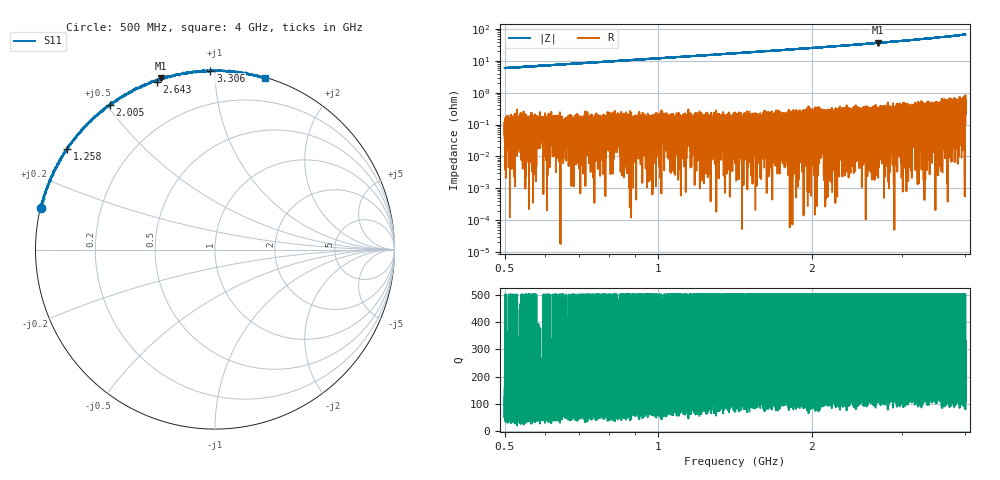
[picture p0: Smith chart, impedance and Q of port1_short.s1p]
!Agilent Technologies,E8363C,MY49030273,A.09.42.18
!Agilent E8363C: A.09.42.18
!Date: Tuesday, May 03, 2022 03:55:51
!Correction: S11(Full 2 Port(1,2))
!S1P File: Measurement: S11:
# Hz S  dB  R 50
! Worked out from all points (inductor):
!   32001 points, 500 MHz to 4 GHz, reference 50 ohm
!   read as one part to ground: L = 1.9 nH near 517.5 MHz
!   highest Q = 1.01e+03 at 2.696 GHz (marker M1), where L = 2.17 nH
!   S11 on the Smith chart (normalised r, x): 500 MHz: 0.00, +0.12; 1.258 GHz: 0.00, +0.31; 2.005 GHz: 0.00, +0.51; 2.643 GHz: 0.01, +0.71; 3.306 GHz: 0.00, +0.97; 4 GHz: 0.00, +1.34
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5e8  -0.01 166.4
7.157969e8  -0.02 160.6
9.375e8  -0.01 154.9
1.090953e9  -0.02 150.7
1.257969e9  -0.02 145.8
1.375e9  -0.03 142.8
1.637719e9  -0.07 136.1
1.8125e9  -0.02 131.0
2.005109e9  -0.05 126.1
2.25e9  -0.04 119.5
2.452125e9  -0.03 114.2
2.642875e9  -0.09 109.0
2.6875e9  -0.01 107.7
2.695922e9  -0.01 107.4
2.894438e9  -0.04 102.5
3.125e9  -0.03 96.3
3.188438e9  -0.04 94.6
3.305797e9  -0.04 91.5
3.343859e9  -0.02 90.7
3.400953e9  -0.04 89.2
3.455969e9  0.02 87.6
3.503766e9  -0.04 86.4
3.5625e9  0.00 84.9
3.611719e9  -0.04 83.2
3.774359e9  -0.02 79.3
3.830031e9  -0.03 77.6
3.943344e9  -0.08 74.9
4e9  -0.03 73.4
